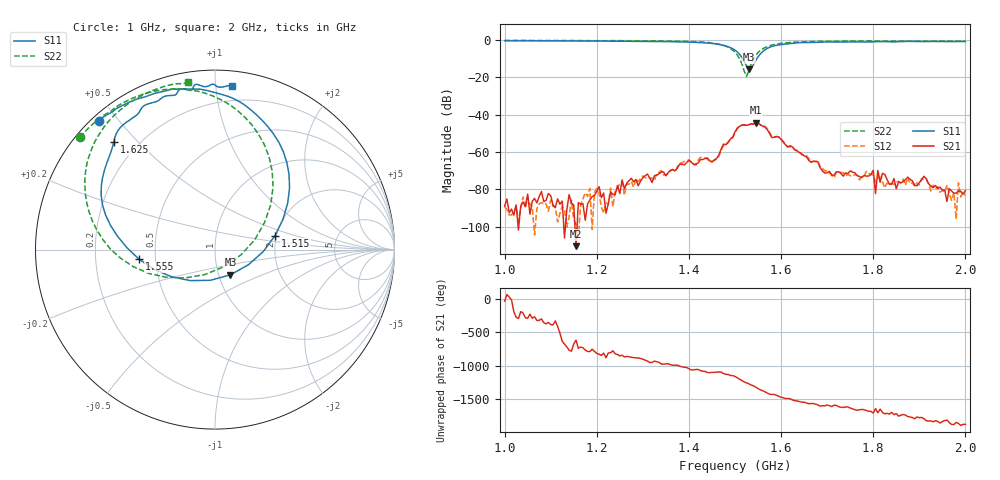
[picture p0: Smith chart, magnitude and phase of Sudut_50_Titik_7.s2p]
# Hz S RI R 50
! CMT, C1220, 16058040, 17.2.0/1
! Date: 14/08/2018 12:12:28
! Data: Format (Calibration Info)
! Freq  S11: Re/Im (F2)  S21: Re/Im (F2)  S12: Re/Im (F2)  S22: Re/Im (F2)
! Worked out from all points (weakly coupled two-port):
!   201 points, 1 GHz to 2 GHz, reference 50 ohm
!   highest |S21| = -44.20 dB at 1.545 GHz (marker M1); lowest = -110.5 dB at 1.155 GHz (marker M2)
!   lowest |S11| = -15.7 dB at 1.53 GHz (marker M3), VSWR 1.39, Z = 56.9 - j16.4 ohm
!   |S11| at or under -10 dB: 1.517 GHz to 1.547 GHz (30.58 MHz wide, 2 % of centre)
!   |S22| runs from -19.4 to -0.2 dB; largest |S21 - S12| = 0.00031
!   S11 on the Smith chart (normalised r, x): 1 GHz: 0.02, +0.44; 1.515 GHz: 1.96, +0.34; 1.555 GHz: 0.40, -0.05; 1.625 GHz: 0.11, +0.43; 2 GHz: 0.10, +1.11
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1e9  -0.6459 0.7146  2.8e-05 -2.2e-05  2.5e-05 -2.3e-05  -0.7533 0.625
1.155e9  -0.4928 0.8151  -6.78e-07 2.92e-06  -8.53e-06 7.64e-06  -0.6318 0.7401
1.17e9  -0.4758 0.8223  4.02e-05 -8.34e-06  4.9e-05 -2.77e-05  -0.6164 0.7507
1.26e9  -0.3409 0.869  -8.89e-05 -5.21e-05  -5.86e-05 -3.78e-05  -0.5223 0.8124
1.335e9  -0.2163 0.8939  -0.000177 0.000191  -0.000157 0.000237  -0.4002 0.8656
1.45e9  0.1766 0.7969  0.000505 -0.000183  0.000527 -0.000243  0.025 0.839
1.5e9  0.4153 0.3432  0.000683 -0.00339  0.000654 -0.00314  0.3234 0.3476
1.515e9  0.3337 0.0768  -0.00396 -0.00352  -0.00392 -0.00362  0.2219 0.0555
1.53e9  0.086 -0.1404  -0.00533 0.000724  -0.00541 0.00069  -0.0559 -0.1389
1.545e9  -0.243 -0.1509  -0.0033 0.00521  -0.0034 0.00508  -0.3702 -0.1323
1.555e9  -0.4234 -0.0532  0.000681 0.00529  0.000442 0.00543  -0.5251 -0.049
1.625e9  -0.5638 0.5998  0.000477 -0.00127  0.00051 -0.00121  -0.7017 0.5202
1.67e9  -0.4433 0.7442  -0.000291 -0.000483  -0.00031 -0.000472  -0.6257 0.6725
1.715e9  -0.3612 0.8153  -0.000199 -0.000133  -0.000181 -9.53e-05  -0.5509 0.758
1.8e9  -0.2054 0.8834  -2.71e-05 0.000324  -0.00015 0.000197  -0.4235 0.8494
1.805e9  -0.1999 0.8897  -7.29e-05 2.39e-05  4.79e-06 0.000158  -0.4165 0.8539
1.81e9  -0.1928 0.8938  -5.63e-05 0.000317  -5.49e-05 0.000187  -0.4098 0.8574
1.815e9  -0.184 0.8954  -0.00014 6.39e-05  4.43e-05 0.000209  -0.4028 0.8611
1.82e9  -0.1739 0.8947  -7.17e-05 0.000258  -8.2e-05 0.000138  -0.396 0.8642
1.835e9  -0.1417 0.8869  2.28e-05 0.000135  -1.73e-05 0.000132  -0.376 0.874
1.91e9  -0.0354 0.9121  0.000218 5.14e-05  0.000184 -1.97e-06  -0.2715 0.9126
2e9  0.0974 0.9114  2.81e-05 -8.85e-05  2.5e-05 -6.33e-05  -0.1522 0.933
